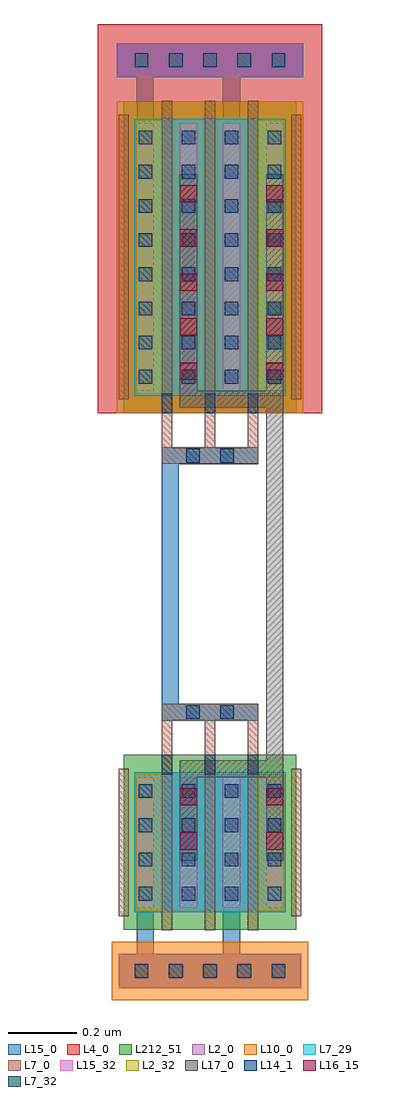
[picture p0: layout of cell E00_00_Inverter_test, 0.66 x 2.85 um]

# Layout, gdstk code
import gdstk
lib = gdstk.Library(unit=1e-6, precision=1e-09)
def R(c, l, rs):  # rectangles x0, y0, x1, y1
    for r in rs: c.add(gdstk.rectangle(r[:2], r[2:], *l))
def A(c, l, x, y, w, h, nx, ny, dx, dy):  # array of equal rectangles
    R(c, l, [(x+i*dx, y+j*dy, x+i*dx+w, y+j*dy+h) for i in range(nx) for j in range(ny)])
def P(c, l, *ps):  # polygons
    for p in ps: c.add(gdstk.Polygon(p, *l))
L2_0 = (2, 0)
L2_32 = (2, 32)
L4_0 = (4, 0)
L7_0 = (7, 0)
L7_29 = (7, 29)
L7_32 = (7, 32)
L10_0 = (10, 0)
L14_1 = (14, 1)
L15_0 = (15, 0)
L15_32 = (15, 32)
L16_15 = (16, 15)
L17_0 = (17, 0)
L212_51 = (212, 51)

e00_00_inverter_test_srf = lib.new_cell('E00_00_Inverter_test:SRF_NMOS:SRF_Drain_ViaM1M2:SRF_ViaM1M2')
R(e00_00_inverter_test_srf, L15_0, [(0,-0.162,0.05,0.082)])
R(e00_00_inverter_test_srf, L16_15, [(0,-0.13,0.05,-0.08), (0,0,0.05,0.05)])
R(e00_00_inverter_test_srf, L17_0, [(0,-0.162,0.05,0.082)])

c_e00_00_inverter_test_srf = lib.new_cell('E00_00_Inverter_test:SRF_NMOS:SRF_Drain_ViaM1M2')
c_e00_00_inverter_test_srf.add(gdstk.Reference(e00_00_inverter_test_srf, (-0.025,0.04)))

c_e00_00_inverter_test_srf_ = lib.new_cell('E00_00_Inverter_test:SRF_NMOS:SRF_Gate_ViaM0Mx:SRF_ViaM0M1')
R(c_e00_00_inverter_test_srf_, L7_0, [(-0.01,-0.004,0.15,0.044)])
R(c_e00_00_inverter_test_srf_, L14_1, [(0,0,0.04,0.04), (0.1,0,0.14,0.04)])
R(c_e00_00_inverter_test_srf_, L15_0, [(-0.021,-0.005,0.161,0.045)])

c_e00_00_inverter_test_srf__ = lib.new_cell('E00_00_Inverter_test:SRF_NMOS:SRF_Gate_ViaM0Mx')
c_e00_00_inverter_test_srf__.add(gdstk.Reference(c_e00_00_inverter_test_srf_, (-0.07,-0.02)))

c_e00_00_inverter_test_srf___ = lib.new_cell('E00_00_Inverter_test:SRF_NMOS')
R(c_e00_00_inverter_test_srf___, L2_0, [(-0.076,0.057,0.358,0.457)])
R(c_e00_00_inverter_test_srf___, L2_32, [(-0.076,0.057,0,0.457), (0.282,0.057,0.358,0.457)])
A(c_e00_00_inverter_test_srf___, L7_0, 0, 0, 0.03, 0.514, 3, 1, 0.126, 0)
A(c_e00_00_inverter_test_srf___, L7_0, 0, 0.514, 0.03, 0.1, 3, 1, 0.126, 0)
R(c_e00_00_inverter_test_srf___, L7_0, [(-0.126,0.041,-0.096,0.473), (0.378,0.041,0.408,0.473), (0,0.614,0.282,0.662)])
R(c_e00_00_inverter_test_srf___, L7_29, [(-0.081,0.052,0.363,0.462)])
A(c_e00_00_inverter_test_srf___, L7_32, 0, 0.457, 0.03, 0.057, 3, 1, 0.126, 0)
A(c_e00_00_inverter_test_srf___, L14_1, -0.068, 0.087, 0.04, 0.04, 4, 4, 0.126, 0.1)
R(c_e00_00_inverter_test_srf___, L15_0, [(-0.073,0.066,-0.023,0.448), (-0.073,0.066,-0.023,0.448), (0.053,0.066,0.103,0.448), (0.053,0.066,0.103,0.448), (0.179,0.066,0.229,0.448), (0.179,0.066,0.229,0.448), (0.305,0.066,0.355,0.448), (0.305,0.066,0.355,0.448), (0,0.613,0.282,0.663)])
A(c_e00_00_inverter_test_srf___, L15_32, -0.073, 0.066, 0.05, 0.382, 4, 1, 0.126, 0)
R(c_e00_00_inverter_test_srf___, L17_0, [(0.053,0.448,0.355,0.498)])
P(c_e00_00_inverter_test_srf___, L17_0, [(0.053,0.448),(0.103,0.448),(0.103,0.448),(0.053,0.448)],
  [(0.305,0.448),(0.355,0.448),(0.355,0.448),(0.305,0.448)])
R(c_e00_00_inverter_test_srf___, L212_51, [(-0.111,0.001,0.393,0.513)])
c_e00_00_inverter_test_srf___.add(gdstk.Reference(c_e00_00_inverter_test_srf, (0.078,0.326)))
c_e00_00_inverter_test_srf___.add(gdstk.Reference(c_e00_00_inverter_test_srf, (0.33,0.326)))
c_e00_00_inverter_test_srf___.add(gdstk.Reference(c_e00_00_inverter_test_srf__, (0.141,0.638)))

c_e00_00_inverter_test_srf____ = lib.new_cell('E00_00_Inverter_test:SRF_Pbody:SRF_PbodyContactPhyLen')
R(c_e00_00_inverter_test_srf____, L2_0, [(-0.047,-0.03,0.487,0.07)])
R(c_e00_00_inverter_test_srf____, L10_0, [(-0.068,-0.065,0.508,0.105)])
A(c_e00_00_inverter_test_srf____, L14_1, 0, 0, 0.04, 0.04, 5, 1, 0.1, 0)
R(c_e00_00_inverter_test_srf____, L15_0, [(-0.047,-0.03,0.487,0.07)])

c_e00_00_inverter_test_srf_____ = lib.new_cell('E00_00_Inverter_test:SRF_Pbody')
c_e00_00_inverter_test_srf_____.add(gdstk.Reference(c_e00_00_inverter_test_srf____, (0,0)))

c_e00_00_inverter_test_srf______ = lib.new_cell('E00_00_Inverter_test:SRF_PMOS:SRF_Drain_ViaM1M2:SRF_ViaM1M2')
R(c_e00_00_inverter_test_srf______, L15_0, [(0,-0.552,0.05,0.082)])
A(c_e00_00_inverter_test_srf______, L16_15, 0, -0.52, 0.05, 0.05, 1, 5, 0, 0.13)
R(c_e00_00_inverter_test_srf______, L17_0, [(0,-0.552,0.05,0.082)])

c_e00_00_inverter_test_srf_______ = lib.new_cell('E00_00_Inverter_test:SRF_PMOS:SRF_Drain_ViaM1M2')
c_e00_00_inverter_test_srf_______.add(gdstk.Reference(c_e00_00_inverter_test_srf______, (-0.025,0.235)))

c_e00_00_inverter_test_srf________ = lib.new_cell('E00_00_Inverter_test:SRF_PMOS:SRF_Gate_ViaM0Mx:SRF_ViaM0M1')
R(c_e00_00_inverter_test_srf________, L7_0, [(-0.01,-0.004,0.15,0.044)])
R(c_e00_00_inverter_test_srf________, L14_1, [(0,0,0.04,0.04), (0.1,0,0.14,0.04)])
R(c_e00_00_inverter_test_srf________, L15_0, [(-0.021,-0.005,0.161,0.045)])

c_e00_00_inverter_test_srf_________ = lib.new_cell('E00_00_Inverter_test:SRF_PMOS:SRF_Gate_ViaM0Mx')
c_e00_00_inverter_test_srf_________.add(gdstk.Reference(c_e00_00_inverter_test_srf________, (-0.07,-0.02)))

c_e00_00_inverter_test_srf__________ = lib.new_cell('E00_00_Inverter_test:SRF_PMOS')
R(c_e00_00_inverter_test_srf__________, L2_0, [(-0.076,0.057,0.358,0.857)])
R(c_e00_00_inverter_test_srf__________, L2_32, [(-0.076,0.057,0,0.857), (0.282,0.057,0.358,0.857)])
A(c_e00_00_inverter_test_srf__________, L7_0, 0, -0.1, 0.03, 0.1, 3, 1, 0.126, 0)
A(c_e00_00_inverter_test_srf__________, L7_0, 0, 0, 0.03, 0.914, 3, 1, 0.126, 0)
R(c_e00_00_inverter_test_srf__________, L7_0, [(0,-0.148,0.282,-0.1), (-0.126,0.041,-0.096,0.873), (0.378,0.041,0.408,0.873)])
R(c_e00_00_inverter_test_srf__________, L7_29, [(-0.081,0.052,0.363,0.862)])
A(c_e00_00_inverter_test_srf__________, L7_32, 0, 0, 0.03, 0.057, 3, 1, 0.126, 0)
R(c_e00_00_inverter_test_srf__________, L10_0, [(-0.132,0.001,0.414,0.913)])
A(c_e00_00_inverter_test_srf__________, L14_1, -0.068, 0.087, 0.04, 0.04, 4, 8, 0.126, 0.1)
R(c_e00_00_inverter_test_srf__________, L15_0, [(0,-0.149,0.282,-0.099), (-0.073,0.066,-0.023,0.848), (-0.073,0.066,-0.023,0.848), (0.053,0.066,0.103,0.848), (0.053,0.066,0.103,0.848), (0.179,0.066,0.229,0.848), (0.179,0.066,0.229,0.848), (0.305,0.066,0.355,0.848), (0.305,0.066,0.355,0.848)])
A(c_e00_00_inverter_test_srf__________, L15_32, -0.073, 0.066, 0.05, 0.782, 4, 1, 0.126, 0)
R(c_e00_00_inverter_test_srf__________, L17_0, [(0.053,0.016,0.355,0.066)])
P(c_e00_00_inverter_test_srf__________, L17_0, [(0.053,0.066),(0.103,0.066),(0.103,0.066),(0.053,0.066)],
  [(0.305,0.066),(0.355,0.066),(0.355,0.066),(0.305,0.066)])
R(c_e00_00_inverter_test_srf__________, L212_51, [(-0.111,0.001,0.393,0.913)])
c_e00_00_inverter_test_srf__________.add(gdstk.Reference(c_e00_00_inverter_test_srf_______, (0.078,0.383)))
c_e00_00_inverter_test_srf__________.add(gdstk.Reference(c_e00_00_inverter_test_srf_______, (0.33,0.383)))
c_e00_00_inverter_test_srf__________.add(gdstk.Reference(c_e00_00_inverter_test_srf_________, (0.141,-0.124)))

c_e00_00_inverter_test_srf___________ = lib.new_cell('E00_00_Inverter_test:SRF_Nbody:SRF_NbodyContactPhyLen')
R(c_e00_00_inverter_test_srf___________, L2_0, [(-0.053,-0.03,0.493,0.07)])
R(c_e00_00_inverter_test_srf___________, L4_0, [(-0.109,-0.086,0.549,0.126)])
A(c_e00_00_inverter_test_srf___________, L14_1, 0, 0, 0.04, 0.04, 5, 1, 0.1, 0)
R(c_e00_00_inverter_test_srf___________, L15_0, [(-0.053,-0.03,0.493,0.07)])

c_e00_00_inverter_test_srf____________ = lib.new_cell('E00_00_Inverter_test:SRF_Nbody')
c_e00_00_inverter_test_srf____________.add(gdstk.Reference(c_e00_00_inverter_test_srf___________, (0,0)))

e00_00_inverter_test = lib.new_cell('E00_00_Inverter_test')
R(e00_00_inverter_test, L4_0, [(-0.188,1.513,0.47,2.651)])
R(e00_00_inverter_test, L15_0, [(-0.073,-0.169,-0.023,0.448), (0.179,-0.169,0.229,0.448), (0,0.613,0.05,1.413), (-0.073,1.578,-0.023,2.595), (0.179,1.578,0.229,2.595)])
P(e00_00_inverter_test, L15_0, [(0,0.613),(0,0.613),(0,0.663),(0,0.663)])
R(e00_00_inverter_test, L17_0, [(0.305,0.448,0.355,1.578)])
P(e00_00_inverter_test, L17_0, [(0.355,0.448),(0.355,0.448),(0.355,0.498),(0.355,0.498)])
e00_00_inverter_test.add(gdstk.Reference(c_e00_00_inverter_test_srf___, (0,0)))
e00_00_inverter_test.add(gdstk.Reference(c_e00_00_inverter_test_srf_____, (-0.079,-0.139)))
e00_00_inverter_test.add(gdstk.Reference(c_e00_00_inverter_test_srf__________, (0,1.512)))
e00_00_inverter_test.add(gdstk.Reference(c_e00_00_inverter_test_srf____________, (-0.079,2.525)))

lib.write_gds('E00_00_Inverter_test.gds')
